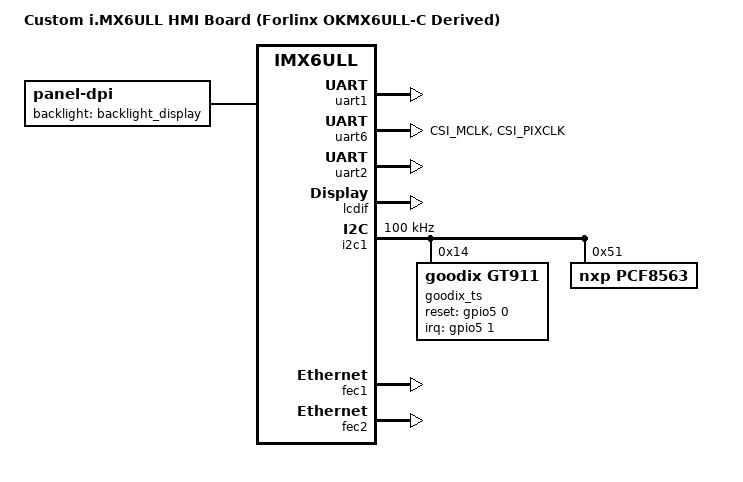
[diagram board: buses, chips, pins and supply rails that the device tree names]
// SPDX-License-Identifier: (GPL-2.0+ OR MIT)
/*
 * Copyright (C) 2026 Custom HMI Solutions
 * Device Tree for Custom i.MX6ULL HMI Board (Forlinx OKMX6ULL-C derived)
 */

/dts-v1/;

#include "imx6ull-14x14-evk.dts"

/ {
	model = "Custom i.MX6ULL HMI Board (Forlinx OKMX6ULL-C Derived)";
	compatible = "fsl,imx6ull-14x14-evk", "fsl,imx6ull";

	chosen {
		stdout-path = &uart1;
	};
};

&iomuxc {
	pinctrl_uart6: uart6grp {
		fsl,pins = <
			MX6UL_PAD_CSI_MCLK__UART6_DCE_TX    0x1b0b1
			MX6UL_PAD_CSI_PIXCLK__UART6_DCE_RX  0x1b0b1
		>;
	};
};

/* UART1 Primary Serial Debug Console (USB Debug on Pins 7 & 9, /dev/ttymxc0) */
&uart1 {
	pinctrl-names = "default";
	pinctrl-0 = <&pinctrl_uart1>;
	status = "okay";
};

/* Secondary Serial Console (UART6 /dev/ttymxc5) */
&uart6 {
	pinctrl-names = "default";
	pinctrl-0 = <&pinctrl_uart6>;
	status = "okay";
};

/* UART2 Serial Console (/dev/ttymxc1) */
&uart2 {
	pinctrl-names = "default";
	pinctrl-0 = <&pinctrl_uart2>;
	status = "okay";
};


/* Parallel 7" / 10" RGB LCD Configuration (1024x600 @ 51.2 MHz) */
/ {
	panel {
		compatible = "panel-dpi";
		backlight = <&backlight_display>;
		status = "okay";

		panel-timing {
			clock-frequency = <51200000>;
			hactive = <1024>;
			vactive = <600>;
			hfront-porch = <160>;
			hback-porch = <160>;
			hsync-len = <1>;
			vback-porch = <23>;
			vfront-porch = <12>;
			vsync-len = <1>;

			hsync-active = <0>;
			vsync-active = <0>;
			de-active = <1>;
			pixelclk-active = <0>;
		};
	};
};

&lcdif {
	pinctrl-names = "default";
	pinctrl-0 = <&pinctrl_lcdif_dat
		     &pinctrl_lcdif_ctrl>;
	status = "okay";
};

/* I2C1 Bus (P17 Pins 7 & 9): Goodix GT911 Capacitive Touch (0x5d) & PCF8563 RTC (0x51) */
&i2c1 {
	clock-frequency = <100000>;
	pinctrl-names = "default";
	pinctrl-0 = <&pinctrl_i2c1>;
	status = "okay";

	/* Goodix GT911 / GT9xx Capacitive Touchscreen */
	goodix_ts@14 {
		compatible = "goodix,gt911", "goodix,gt9xx";
		reg = <0x14>;
		interrupt-parent = <&gpio5>;
		interrupts = <1 IRQ_TYPE_EDGE_FALLING>;
		reset-gpios = <&gpio5 0 GPIO_ACTIVE_HIGH>;
		irq-gpios = <&gpio5 1 GPIO_ACTIVE_HIGH>;
		status = "okay";
	};

	/* PCF8563 Real-Time Clock */
	pcf8563: rtc@51 {
		compatible = "nxp,pcf8563";
		reg = <0x51>;
		status = "okay";
	};
};

/* Dual Ethernet (FEC1 & FEC2) */
&fec1 {
	status = "okay";
};

&fec2 {
	status = "okay";
};
